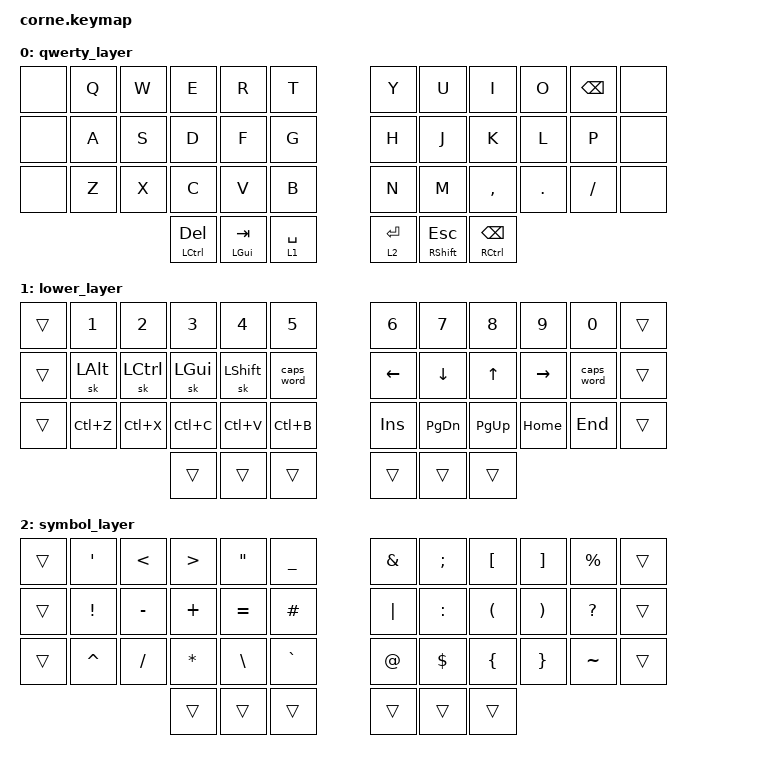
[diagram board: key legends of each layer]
/*
 * Copyright (c) 2020 The ZMK Contributors
 *
 * SPDX-License-Identifier: MIT
 */

#include <behaviors.dtsi>
#include <dt-bindings/zmk/keys.h>
#include <dt-bindings/zmk/bt.h>

&mt {
    tapping-term-ms = <200>;
};

/ {
    keymap {
        compatible = "zmk,keymap";
        qwerty_layer {
            // -----------------------------------------------------------------------------------------
            // | TRANS|  Q  |  W  |  E  |  R  |  T  |   |  Y  |  U  |  I  |  O  | BSPC| TRANS|
            // | TRANS|  A  |  S  |  D  |  F  |  G  |   |  H  |  J  |  K  |  L  |  P  | TRANS|
            // | TRANS|  Z  |  X  |  C  |  V  |  B  |   |  N  |  M  |  ,  |  .  |  /  | TRANS|
            //--------------------|     |     |     |---|     |     |     |-------------------
            // -------------------------------------------------------------------------------
            bindings = <
                &none  &kp Q &kp W &kp E &kp R &kp T &kp Y &kp U &kp I     &kp O        &kp BSPC       &none
                &none  &kp A &kp S &kp D &kp F &kp G &kp H &kp J &kp K     &kp L        &kp P          &none
                &none  &kp Z &kp X &kp C &kp V &kp B &kp N &kp M &kp COMMA &kp DOT &kp FSLH &none
                &mt LCTRL DEL &mt LGUI TAB &lt 1 SPACE &lt 2 RET &mt RSHIFT ESC &mt RCTRL BSPC
                >;
        };

        lower_layer {
            // -----------------------------------------------------------------------------------------
            // | TRANS|  1  |  2  |  3  |  4  |  5  |   |  6  |  7  |  8  |  9  |  0  | TRANS|
            // | TRANS| ALT | CTR | GUI | SHFT| CAPS|   | LFT | DWN |  UP | RGT | CAPS| TRANS|
            // | TRANS| UNDO| CUT | CPY | PST | TMUX|   | INS | PGDN| PGUP| HOME| END | TRANS|
            //--------------------|     |     |     |---|     |     |     |-------------------
            // -------------------------------------------------------------------------------
            bindings = <
                &trans  &kp N1    &kp N2    &kp N3    &kp N4     &kp N5     &kp N6   &kp N7    &kp N8    &kp N9    &kp N0     &trans
                &trans  &sk LALT  &sk LCTRL &sk LGUI  &sk LSHIFT &caps_word &kp LEFT &kp DOWN  &kp UP    &kp RIGHT &caps_word &trans
                &trans  &kp LC(Z) &kp LC(X) &kp LC(C) &kp LC(V)  &kp LC(B)  &kp INS  &kp PG_DN &kp PG_UP &kp HOME  &kp END    &trans
                &trans  &trans &trans &trans &trans &trans
                >;
        };

        symbol_layer {
            // -------------------------------------------------------------------------------
            // |      |  '  |  <  |  >  |  "  |  _  |---|  &  |  ;  |  [  |  ]  |  %  |      |
            // |      |  !  |  -  |  +  |  =  |  #  |---|  |  |  :  |  (  |  )  |  ?  |      |
            // |      |  ^  |  /  |  *  |  \  |  `  |---|  @  |  $  |  {  |  }  |  ~  |      |
            //--------------------|     |     |     |---|     |     |     |-------------------
            // -------------------------------------------------------------------------------
            bindings = <
                &trans &kp SQT   &kp LT     &kp GT   &kp DQT    &kp UNDER &kp AMPS &kp SEMI  &kp LBKT &kp RBKT &kp PRCNT &trans
                &trans &kp EXCL  &kp MINUS  &kp PLUS &kp EQUAL  &kp HASH  &kp PIPE &kp COLON &kp LPAR &kp RPAR &kp QMARK &trans
                &trans &kp CARET &kp FSLH   &kp STAR &kp BSLH   &kp GRAVE &kp AT   &kp DLLR  &kp LBRC &kp RBRC &kp TILDE &trans
                &trans &trans &trans &trans &trans &trans
                >;
        };
    };
};
